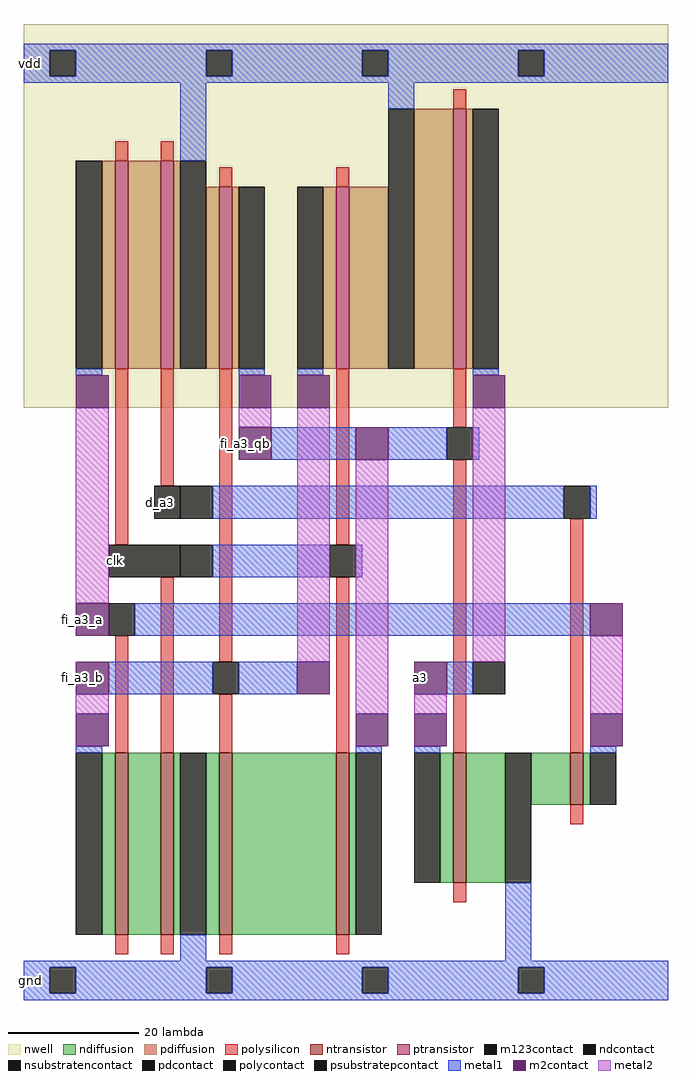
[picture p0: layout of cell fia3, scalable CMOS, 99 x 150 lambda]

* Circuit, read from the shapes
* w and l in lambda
.subckt fia3 a3 clk d_a3 vdd gnd
M1 n1 fi_a3_a fi_a3_b gnd nfet w=28 l=2
M2 gnd clk n1 gnd nfet w=28 l=2
M3 n2 fi_a3_b gnd gnd nfet w=28 l=2
M4 fi_a3_qb clk n2 gnd nfet w=28 l=2
M5 gnd fi_a3_qb a3 gnd nfet w=20 l=2
M6 fi_a3_a d_a3 gnd gnd nfet w=8 l=2
M7 n3 clk fi_a3_a vdd pfet w=32 l=2
M8 vdd d_a3 n3 vdd pfet w=32 l=2
M9 fi_a3_qb fi_a3_b vdd vdd pfet w=28 l=2
M10 vdd clk fi_a3_b vdd pfet w=28 l=2
M11 a3 fi_a3_qb vdd vdd pfet w=40 l=2
.ends

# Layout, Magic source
magic
tech scmos
<< nwell >>
rect 0 91 99 150
<< ntransistor >>
rect 14 10 16 38
rect 21 10 23 38
rect 30 10 32 38
rect 48 10 50 38
rect 66 18 68 38
rect 84 30 86 38
<< ptransistor >>
rect 14 97 16 129
rect 21 97 23 129
rect 30 97 32 125
rect 48 97 50 125
rect 66 97 68 137
<< ndiffusion >>
rect 12 10 14 38
rect 16 10 21 38
rect 23 10 24 38
rect 28 10 30 38
rect 32 10 48 38
rect 50 10 51 38
rect 64 18 66 38
rect 68 18 74 38
rect 78 30 84 38
rect 86 30 87 38
<< pdiffusion >>
rect 12 97 14 129
rect 16 97 21 129
rect 23 97 24 129
rect 28 97 30 125
rect 32 97 33 125
rect 46 97 48 125
rect 50 97 56 125
rect 60 97 66 137
rect 68 97 69 137
<< ndcontact >>
rect 8 10 12 38
rect 24 10 28 38
rect 51 10 55 38
rect 60 18 64 38
rect 74 18 78 38
rect 87 30 91 38
<< pdcontact >>
rect 8 97 12 129
rect 24 97 28 129
rect 33 97 37 125
rect 42 97 46 125
rect 56 97 60 137
rect 69 97 73 137
<< psubstratepcontact >>
rect 4 1 8 5
rect 28 1 32 5
rect 52 1 56 5
rect 76 1 80 5
<< nsubstratencontact >>
rect 4 142 8 146
rect 28 142 32 146
rect 52 142 56 146
rect 76 142 80 146
<< polysilicon >>
rect 66 137 68 140
rect 14 129 16 132
rect 21 129 23 132
rect 30 125 32 128
rect 48 125 50 128
rect 14 70 16 97
rect 21 79 23 97
rect 14 38 16 56
rect 21 38 23 65
rect 30 52 32 97
rect 48 70 50 97
rect 66 88 68 97
rect 30 38 32 47
rect 48 38 50 65
rect 66 38 68 83
rect 84 38 86 74
rect 84 27 86 30
rect 66 15 68 18
rect 14 7 16 10
rect 21 7 23 10
rect 30 7 32 10
rect 48 7 50 10
<< polycontact >>
rect 20 74 24 79
rect 13 65 24 70
rect 13 56 17 61
rect 65 83 69 88
rect 47 65 51 70
rect 29 47 33 52
rect 83 74 87 79
<< metal1 >>
rect 0 146 99 147
rect 0 142 4 146
rect 8 142 28 146
rect 32 142 52 146
rect 56 142 76 146
rect 80 142 99 146
rect 0 141 99 142
rect 24 129 28 141
rect 56 137 60 141
rect 8 96 12 97
rect 33 96 37 97
rect 42 96 46 97
rect 69 96 73 97
rect 38 83 51 88
rect 56 83 65 88
rect 69 83 70 88
rect 29 74 83 79
rect 87 74 88 79
rect 29 65 47 70
rect 51 65 52 70
rect 17 56 87 61
rect 13 47 29 52
rect 33 47 42 52
rect 65 47 69 52
rect 8 38 12 39
rect 51 38 55 39
rect 60 38 64 39
rect 87 38 91 39
rect 24 6 28 10
rect 74 6 78 18
rect 0 5 99 6
rect 0 1 4 5
rect 8 1 28 5
rect 32 1 52 5
rect 56 1 76 5
rect 80 1 99 5
rect 0 0 99 1
<< m2contact >>
rect 8 91 13 96
rect 33 91 38 96
rect 42 91 47 96
rect 69 91 74 96
rect 33 83 38 88
rect 51 83 56 88
rect 8 56 13 61
rect 87 56 92 61
rect 8 47 13 52
rect 42 47 47 52
rect 60 47 65 52
rect 8 39 13 44
rect 51 39 56 44
rect 60 39 65 44
rect 87 39 92 44
<< metal2 >>
rect 8 61 13 91
rect 33 88 38 91
rect 42 52 47 91
rect 8 44 13 47
rect 51 44 56 83
rect 69 52 74 91
rect 60 44 65 47
rect 87 44 92 56
<< m123contact >>
rect 24 74 29 79
rect 24 65 29 70
rect 69 47 74 52
<< labels >>
rlabel m2contact 60 47 62 52 0 a3
port 1 nsew
rlabel metal1 13 65 15 70 0 clk
port 2 nsew
rlabel metal1 20 74 22 79 0 d_a3
port 3 nsew
rlabel m2contact 8 56 10 61 0 fi_a3_a
rlabel m2contact 8 47 10 52 0 fi_a3_b
rlabel m2contact 33 83 35 88 0 fi_a3_qb
rlabel metal1 0 141 2 147 0 vdd
port 4 nsew
rlabel metal1 0 0 2 6 0 gnd
port 5 nsew
<< end >>
